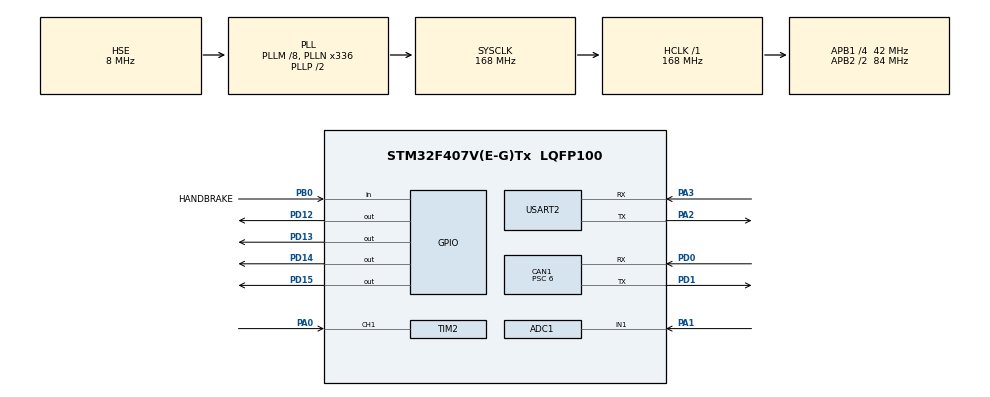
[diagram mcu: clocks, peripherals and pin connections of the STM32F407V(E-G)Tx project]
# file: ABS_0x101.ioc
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ADC1.Channel-0\#ChannelRegularConversion=ADC_CHANNEL_1
ADC1.ContinuousConvMode=ENABLE
ADC1.DMAContinuousRequests=ENABLE
ADC1.NbrOfConversionFlag=1
ADC1.Rank-0\#ChannelRegularConversion=1
ADC1.SamplingTime-0\#ChannelRegularConversion=ADC_SAMPLETIME_3CYCLES
ADC1.master=1
CAN1.BS1=CAN_BS1_11TQ
CAN1.BS2=CAN_BS2_2TQ
CAN1.CalculateBaudRate=500000
CAN1.CalculateTimeBit=2000
CAN1.CalculateTimeQuantum=142.85714285714286
CAN1.NART=ENABLE
CAN1.Prescaler=6
Dma.ADC1.1.Direction=DMA_PERIPH_TO_MEMORY
Dma.ADC1.1.FIFOMode=DMA_FIFOMODE_DISABLE
Dma.ADC1.1.Instance=DMA2_Stream0
Dma.ADC1.1.MemDataAlignment=DMA_MDATAALIGN_HALFWORD
Dma.ADC1.1.MemInc=DMA_MINC_ENABLE
Dma.ADC1.1.Mode=DMA_CIRCULAR
Dma.ADC1.1.PeriphDataAlignment=DMA_PDATAALIGN_HALFWORD
Dma.ADC1.1.PeriphInc=DMA_PINC_DISABLE
Dma.ADC1.1.Priority=DMA_PRIORITY_LOW
Dma.Request0=TIM2_CH1
Dma.Request1=ADC1
Dma.TIM2_CH1.0.Direction=DMA_PERIPH_TO_MEMORY
Dma.TIM2_CH1.0.FIFOMode=DMA_FIFOMODE_DISABLE
Dma.TIM2_CH1.0.Instance=DMA1_Stream5
Dma.TIM2_CH1.0.MemDataAlignment=DMA_MDATAALIGN_HALFWORD
Dma.TIM2_CH1.0.MemInc=DMA_MINC_DISABLE
Dma.TIM2_CH1.0.Mode=DMA_CIRCULAR
Dma.TIM2_CH1.0.PeriphDataAlignment=DMA_PDATAALIGN_HALFWORD
Dma.TIM2_CH1.0.PeriphInc=DMA_PINC_ENABLE
Dma.TIM2_CH1.0.Priority=DMA_PRIORITY_LOW
Mcu.Family=STM32F4
Mcu.Name=STM32F407V(E-G)Tx
Mcu.Package=LQFP100
NVIC.CAN1_RX0_IRQn=true\:0\:0\:false\:false\:true\:true\:true\:true
NVIC.CAN1_RX1_IRQn=true\:0\:0\:false\:false\:true\:true\:true\:true
NVIC.CAN1_SCE_IRQn=true\:0\:0\:false\:false\:true\:true\:true\:true
NVIC.CAN1_TX_IRQn=true\:0\:0\:false\:false\:true\:true\:true\:true
NVIC.DMA1_Stream5_IRQn=true\:0\:0\:false\:false\:true\:false\:true\:true
NVIC.DMA2_Stream0_IRQn=true\:0\:0\:false\:false\:true\:false\:true\:true
NVIC.PriorityGroup=NVIC_PRIORITYGROUP_0
NVIC.TIM2_IRQn=true\:0\:0\:false\:false\:true\:true\:true\:true
PA0-WKUP.Signal=S_TIM2_CH1_ETR
PA1.Signal=ADCx_IN1
PA2.Mode=Asynchronous
PA2.Signal=USART2_TX
PA3.Mode=Asynchronous
PA3.Signal=USART2_RX
PB0.GPIO_Label=HANDBRAKE
PB0.GPIO_PuPd=GPIO_PULLUP
PB0.Signal=GPIO_Input
PD0.Mode=CAN_Activate
PD0.Signal=CAN1_RX
PD1.Mode=CAN_Activate
PD1.Signal=CAN1_TX
PD12.Signal=GPIO_Output
PD13.Signal=GPIO_Output
PD14.Signal=GPIO_Output
PD15.Signal=GPIO_Output
PH0-OSC_IN.Mode=HSE-External-Oscillator
PH0-OSC_IN.Signal=RCC_OSC_IN
PH1-OSC_OUT.Mode=HSE-External-Oscillator
PH1-OSC_OUT.Signal=RCC_OSC_OUT
ProjectManager.HeapSize=0x200
ProjectManager.StackSize=0x400
ProjectManager.TargetToolchain=STM32CubeIDE
RCC.48MHZClocksFreq_Value=48000000
RCC.AHBFreq_Value=168000000
RCC.APB1CLKDivider=RCC_HCLK_DIV4
RCC.APB1Freq_Value=42000000
RCC.APB1TimFreq_Value=84000000
RCC.APB2CLKDivider=RCC_HCLK_DIV2
RCC.APB2Freq_Value=84000000
RCC.APB2TimFreq_Value=168000000
RCC.CortexFreq_Value=168000000
RCC.HCLKFreq_Value=168000000
RCC.HSE_VALUE=8000000
RCC.HSI_VALUE=16000000
RCC.LSE_VALUE=32768
RCC.PLLM=8
RCC.PLLN=336
RCC.PLLQ=7
RCC.PLLSourceVirtual=RCC_PLLSOURCE_HSE
RCC.SYSCLKFreq_VALUE=168000000
RCC.SYSCLKSource=RCC_SYSCLKSOURCE_PLLCLK
RCC.VCOOutputFreq_Value=336000000
SH.ADCx_IN1.0=ADC1_IN1,IN1
SH.S_TIM2_CH1_ETR.0=TIM2_CH1,Input_Capture1_from_TI1
TIM2.Channel-Input_Capture1_from_TI1=TIM_CHANNEL_1
TIM2.ICFilter_CH1=8
TIM2.ICPolarity_CH1=TIM_INPUTCHANNELPOLARITY_FALLING
TIM2.Period=65535
TIM2.Prescaler=49
USART2.VirtualMode=VM_ASYNC
VP_TIM2_VS_ClockSourceINT.Mode=Internal
board=STM32F407G-DISC1

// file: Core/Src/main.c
/* USER CODE BEGIN Header */
/**
  ******************************************************************************
  * @file           : main.c
  * @brief          : Main program body
  ******************************************************************************
  * @attention
  *
  * Copyright (c) 2026 STMicroelectronics.
  * All rights reserved.
  *
  * This software is licensed under terms that can be found in the LICENSE file
  * in the root directory of this software component.
  * If no LICENSE file comes with this software, it is provided AS-IS.
  *
  ******************************************************************************
  */
/* USER CODE END Header */
#include "main.h"

/* USER CODE BEGIN Includes */
#include "stdio.h"
#include "string.h"
#include "math.h"
/* USER CODE END Includes */

ADC_HandleTypeDef hadc1;
DMA_HandleTypeDef hdma_adc1;

CAN_HandleTypeDef hcan1;

TIM_HandleTypeDef htim2;
DMA_HandleTypeDef hdma_tim2_ch1;

UART_HandleTypeDef huart2;

/* USER CODE BEGIN PV */
#define MAGNETS              4U
//#define WHEEL_RADIUS_M       0.025f
//#define WHEEL_CIRCUMFERENCE_M (2.0f * 3.1415926f * WHEEL_RADIUS_M)
//#define SPEED_SCALE_FACTOR   12.0f
#define HALL_TO_MOTOR_RATIO   7.0f
#define MAX_MOTOR_RPM         5000.0f
#define MAX_VEHICLE_SPEED     250.0f

#define STOPPED_TIMEOUT_MS   500U
#define ABS_SLIP_THRESHOLD   20.0f
#define ABS_PHASE_MS         80U

#define CAN_ID_BMS_BRAKE     0x101U
#define CAN_ID_STATUS        0x102U
#define CAN_ID_TELEMATICS    0x107U
#define CAN_ID_TELEM_TX      0x117U  // ABS ECU → Telematics

//#define CAN_ID_TELEMATICS_SPEED  0x104U
//ADC_HandleTypeDef hadc1;
//CAN_HandleTypeDef hcan1;

volatile uint32_t capture1 = 0;
volatile uint32_t capture2 = 0;
volatile uint32_t pulse_period_us = 0;
volatile uint8_t capture_done = 0;
volatile uint8_t capture_index = 0;

uint8_t temp_warning_active = 0U;
uint32_t last_capture_tick = 0;
uint32_t last_speed_tx_tick = 0;
//uint32_t last_temp_tx_tick = 0;
uint32_t last_status_tx_tick = 0;
uint32_t last_imm_rx_tick = 0xFFFFFFFFU;
uint32_t last_mob_rx_tick = 0xFFFFFFFFU;

float wheel_rpm = 0.0f;
float wheel_speed_kmh = 0.0f;
float brake_temp_c = 30.0f;
float v_ref_kmh = 0.0f;

uint8_t brake_input_pct = 0;
uint8_t brake_cmd_pct = 0;
uint8_t abs_active = 0;
uint8_t handbrake = 0;
uint8_t immobilized = 0;
uint8_t prev_brake_input_pct = 0;
uint8_t abs_phase = 0;
uint32_t abs_phase_tick = 0;
CAN_FilterTypeDef filter;
/* USER CODE END PV */

void SystemClock_Config(void);
static void MX_GPIO_Init(void);
static void MX_DMA_Init(void);
static void MX_USART2_UART_Init(void);
static void MX_TIM2_Init(void);
static void MX_ADC1_Init(void);
static void MX_CAN1_Init(void);
/* USER CODE BEGIN PFP */
static uint8_t ADC_ToBrakePct(uint32_t adc);
static HAL_StatusTypeDef CAN_SendStd(uint16_t std_id, const uint8_t *data, uint8_t len);
/* USER CODE END PFP */

/* USER CODE BEGIN 0 */
int __io_putchar(int ch)
{
    HAL_UART_Transmit(&huart2, (uint8_t *)&ch, 1, HAL_MAX_DELAY);
    return ch;
}

static uint8_t ADC_ToBrakePct(uint32_t adc)
{
    // DEAD ZONE around center position

    if (adc < 2100)
        return 0;

    if (adc > 4000)
        adc = 4000;

    return (uint8_t)(((adc - 2100) * 100U) / (4000 - 2100));
}

static HAL_StatusTypeDef CAN_SendStd(uint16_t std_id, const uint8_t *data, uint8_t len)
{
    CAN_TxHeaderTypeDef txHeader = {0};
    uint32_t txMailbox = 0;

    txHeader.StdId             = std_id;
    txHeader.ExtId             = 0;
    txHeader.IDE               = CAN_ID_STD;
    txHeader.RTR               = CAN_RTR_DATA;
    txHeader.DLC               = len;
    txHeader.TransmitGlobalTime = DISABLE;

    // ===== CAN BUS HEALTH CHECK =====
    uint32_t can_err = HAL_CAN_GetError(&hcan1);
    if (can_err != HAL_CAN_ERROR_NONE)
    {
        printf("\033[0;31m[CAN BUS ERROR] 0x%lX — Bus may be offline!\r\n\033[0m", can_err);
    }

    uint32_t timeout = HAL_GetTick();
    while (HAL_CAN_GetTxMailboxesFreeLevel(&hcan1) == 0)
    {
        if ((HAL_GetTick() - timeout) > 5U)
        {
            printf("\033[0;31m[CAN TX TIMEOUT] ID:0x%03X — No free mailbox!\r\n\033[0m", std_id);
            return HAL_TIMEOUT;
        }
    }

    HAL_StatusTypeDef status = HAL_CAN_AddTxMessage(&hcan1, &txHeader, data, &txMailbox);

    if (status == HAL_OK)
    {
        HAL_GPIO_TogglePin(GPIOD, GPIO_PIN_13);

        // ===== DESTINATION PRINT =====
        const char *dest = "Unknown";
        if      (std_id == CAN_ID_BMS_BRAKE) dest = "BMS";
        else if (std_id == CAN_ID_STATUS)    dest = "Infotainment";
        else if (std_id == CAN_ID_TELEM_TX)  dest = "Telematics";

        printf("\033[0;32m[CAN TX OK] 0x%03X → %-18s | DLC:%u | Data:", std_id, dest, len);
        for (uint8_t i = 0; i < len; i++)
            printf(" 0x%02X", data[i]);
        printf("\r\n\033[0m");
    }
    else
    {
        printf("\033[0;31m[CAN TX FAIL] 0x%03X ERR:0x%lX\r\n\033[0m",
               std_id, HAL_CAN_GetError(&hcan1));
    }

    return status;
}

void HAL_TIM_IC_CaptureCallback(TIM_HandleTypeDef *htim)
{
    if (htim->Instance != TIM2) return;

    if (capture_index == 0)
    {
        capture1 = HAL_TIM_ReadCapturedValue(htim, TIM_CHANNEL_1);
        capture_index = 1;
    }
    else
    {
        capture2 = HAL_TIM_ReadCapturedValue(htim, TIM_CHANNEL_1);

        if (capture2 >= capture1)
            pulse_period_us = capture2 - capture1;
        else
        	pulse_period_us = (0xFFFFFFFFU - capture1) + 1U + capture2;

        capture_index = 0;
        capture_done = 1;
        last_capture_tick = HAL_GetTick();
    }
}

void HAL_CAN_RxFifo0MsgPendingCallback(CAN_HandleTypeDef *hcan)
{
    if (hcan->Instance != CAN1) return;

    CAN_RxHeaderTypeDef rxHeader = {0};
    uint8_t rxData[8] = {0};

    if (HAL_CAN_GetRxMessage(hcan, CAN_RX_FIFO0, &rxHeader, rxData) != HAL_OK)
        return;

    if (rxHeader.StdId == 0x107U)
    {
        static uint8_t last_cmd = 0x00;
        uint8_t current_cmd = rxData[0];

        // Ignore repeated same command
        if (current_cmd != last_cmd)
        {
            last_cmd = current_cmd;

            if (current_cmd == 0x99U)
            {
                immobilized = 1U;
                last_imm_rx_tick = HAL_GetTick();

                printf("\033[0;31m[CAN RX] IMMOBILIZE received!\r\n\033[0m");
            }
            else if (current_cmd == 0x11U)
            {
                immobilized = 0U;
                last_mob_rx_tick = HAL_GetTick();

                printf("\033[0;32m[CAN RX] MOBILIZE received!\r\n\033[0m");
            }
        }
    }
}
/* USER CODE END 0 */

int main(void)
{

  /* MCU Configuration--------------------------------------------------------*/

  /* Reset of all peripherals, Initializes the Flash interface and the Systick. */
  HAL_Init();

  /* Configure the system clock */
  SystemClock_Config();

  /* Initialize all configured peripherals */
  MX_GPIO_Init();
  MX_DMA_Init();
  MX_USART2_UART_Init();
  MX_TIM2_Init();
  MX_ADC1_Init();
  MX_CAN1_Init();
  /* USER CODE BEGIN 2 */

  HAL_TIM_IC_Start_IT(&htim2, TIM_CHANNEL_1);

  last_imm_rx_tick = HAL_GetTick() - 1000U;
  last_mob_rx_tick = HAL_GetTick() - 1000U;

  filter.FilterActivation     = CAN_FILTER_ENABLE;
  filter.FilterBank           = 0;
  filter.FilterFIFOAssignment = CAN_FILTER_FIFO0;
  filter.FilterIdHigh         = 0x0000;
  filter.FilterIdLow          = 0x0000;
  filter.FilterMaskIdHigh     = 0x0000;
  filter.FilterMaskIdLow      = 0x0000;
  filter.FilterMode           = CAN_FILTERMODE_IDMASK;
  filter.FilterScale          = CAN_FILTERSCALE_32BIT;
  filter.SlaveStartFilterBank = 14;        // ← add this

  HAL_CAN_ConfigFilter(&hcan1, &filter);   // only once

  if (HAL_CAN_Start(&hcan1) == HAL_OK)
      printf("CAN START SUCCESS\r\n");
  else
      printf("CAN START FAIL\r\n");

  HAL_CAN_ActivateNotification(&hcan1, CAN_IT_RX_FIFO0_MSG_PENDING);

  printf("ABS ECU Ready\r\n");
  printf("Hall PA0 | Brake PA1 | Handbrake PB0\r\n");
  printf("CAN 500kbps | UART 115200\r\n");
  /* USER CODE END 2 */

  /* Infinite loop */
  while (1)
  {

	  /* USER CODE BEGIN 3 */
	  uint8_t info_data[4] = {0};  // declare here so printf can access it
	  	  uint32_t now = HAL_GetTick();
	  	  uint32_t adc_raw = 0;

	  	  // ========== SPEED FROM HALL SENSOR ==========
	  	  if (capture_done)
	  	  {
	  		printf("RPM = %.1f\r\n", wheel_rpm);
	  	      capture_done = 0;
	  	      if (pulse_period_us > 0U)
	  	      {
	  	    	float freq_hz = 1000000.0f / (float)pulse_period_us;

	  	    	wheel_rpm = (freq_hz * 60.0f) / (float)MAGNETS;

	  	    	float motor_rpm = wheel_rpm * HALL_TO_MOTOR_RATIO;

	  	    	wheel_speed_kmh =
	  	    	    (motor_rpm * MAX_VEHICLE_SPEED) / MAX_MOTOR_RPM;

	  	    	if (wheel_speed_kmh > MAX_VEHICLE_SPEED)
	  	    	{
	  	    	    wheel_speed_kmh = MAX_VEHICLE_SPEED;
	  	    	}
	  	      }
	  	  }

	  	  if ((now - last_capture_tick) > STOPPED_TIMEOUT_MS)
	  	  {
	  	      wheel_rpm       = 0.0f;
	  	      wheel_speed_kmh = 0.0f;
	  	  }

	  	  // ========== ADC BRAKE INPUT ==========
	  	  if (HAL_ADC_Start(&hadc1) == HAL_OK)
	  	  {
	  	      if (HAL_ADC_PollForConversion(&hadc1, 1) == HAL_OK)
	  	          adc_raw = HAL_ADC_GetValue(&hadc1);
	  	      HAL_ADC_Stop(&hadc1);
	  	  }

	  	  brake_input_pct = ADC_ToBrakePct(adc_raw);
	  	  handbrake = (HAL_GPIO_ReadPin(GPIOB, GPIO_PIN_0) == GPIO_PIN_RESET) ? 1U : 0U;

	  	  // ========== V_REF CAPTURE ==========
	  	  if (brake_input_pct > 0U && prev_brake_input_pct == 0U)
	  	      v_ref_kmh = (wheel_speed_kmh > 1.0f) ? wheel_speed_kmh : 1.0f;

	  	  if (brake_input_pct == 0U && handbrake == 0U && immobilized == 0U)
	  	  {
	  	      v_ref_kmh  = 0.0f;
	  	      abs_active = 0U;
	  	      abs_phase  = 0U;
	  	  }

	  	  // ========== BRAKE + ABS LOGIC ==========
	  	  if (immobilized || handbrake)
	  	  {
	  	      brake_cmd_pct = 100U;
	  	      abs_active    = 0U;
	  	  }
	  	  else
	  	  {
	  	      float slip = 0.0f;
	  	      if (v_ref_kmh > 1.0f && wheel_speed_kmh < v_ref_kmh)
	  	          slip = ((v_ref_kmh - wheel_speed_kmh) / v_ref_kmh) * 100.0f;

	  	      if (brake_input_pct == 0U)
	  	      {
	  	          brake_cmd_pct = 0U;
	  	          abs_active    = 0U;
	  	      }
	  	      else if (slip > ABS_SLIP_THRESHOLD)
	  	      {
	  	          abs_active = 1U;
	  	          if ((now - abs_phase_tick) >= ABS_PHASE_MS)
	  	          {
	  	              abs_phase_tick = now;
	  	              abs_phase = (abs_phase + 1U) % 3U;
	  	          }
	  	          if (abs_phase == 0U)
	  	              brake_cmd_pct = brake_input_pct;
	  	          else if (abs_phase == 1U)
	  	              brake_cmd_pct = (brake_input_pct > 20U) ? (brake_input_pct - 20U) : 0U;
	  	          else
	  	          {
	  	              uint16_t temp_cmd = brake_input_pct + 10U;
	  	              brake_cmd_pct = (temp_cmd > 100U) ? 100U : (uint8_t)temp_cmd;
	  	          }
	  	      }
	  	      else
	  	      {
	  	          abs_active    = 0U;
	  	          abs_phase     = 0U;
	  	          brake_cmd_pct = brake_input_pct;
	  	      }
	  	  }

	  	  // ========== TEMPERATURE SIMULATION ==========
	  	  if (brake_cmd_pct > 0U)
	  	  {
	  	      float heat_rate = ((float)brake_cmd_pct / 100.0f) * 0.28f;
	  	      brake_temp_c += heat_rate;
	  	  }
	  	  else
	  	  {
	  	      float cool_rate = (brake_temp_c - 30.0f) * 0.005f;
	  	      brake_temp_c -= cool_rate;
	  	  }
	  	  if (brake_temp_c < 30.0f)  brake_temp_c = 30.0f;
	  	  if (brake_temp_c > 250.0f) brake_temp_c = 250.0f;

	  	  // ========== ABS STATUS BASED ON TEMPERATURE ==========
	  	  uint8_t abs_status_byte = 0U;
	  	  if (brake_temp_c >= 200.0f)
	  	  {
	  	      temp_warning_active = 1U;
	  	      abs_status_byte     = 0U;   // FAULT
	  	  }
	  	  else if (temp_warning_active && brake_temp_c > 80.0f)
	  	  {
	  	      abs_status_byte = 0U;       // hold fault until below 80C
	  	  }
	  	  else
	  	  {
	  	      temp_warning_active = 0U;
	  	      abs_status_byte     = abs_active ? 1U : 0U;  // 1=working 0=off
	  	  }

	  	  // ========== CAN TX EVERY 50ms ==========
	  	  if ((now - last_speed_tx_tick) >= 500U)
	  	  {
	  	      // --- 0x101 → BMS (1 byte: brake% only) ---
	  		// --- 0x101 → BMS (2 bytes: joystick brake% + handbrake state) ---
	  		uint8_t bms_data[4];

	  		if (immobilized)
	  		{
	  		    bms_data[0] = 100U;
	  		    bms_data[1] = 1U;
	  		}
	  		else
	  		{
	  		    bms_data[0] = brake_cmd_pct;
	  		    bms_data[1] = handbrake;
	  		}

	  		// speed packed in byte 2 and 3
	  		bms_data[2] = (uint8_t)wheel_speed_kmh;
	  		bms_data[3] = (uint8_t)((uint16_t)(wheel_speed_kmh * 10.0f) % 10U);

	  		CAN_SendStd(CAN_ID_BMS_BRAKE, bms_data, 4);

	  	      // --- 0x102 → Infotainment (3 bytes: status + speed) ---
	  	     // uint8_t info_data[4];
	  	      if (temp_warning_active)
	  	          info_data[0] = 0x02;              // brake failure / ABS fault
	  	      else if (abs_active)
	  	          info_data[0] = 0x01;              // ABS active
	  	      else
	  	          info_data[0] = 0x00;              // normal
	  	    info_data[0] = temp_warning_active ? 0x02 : abs_active ? 0x01 : 0x00;
	  	    info_data[1] = (uint8_t)wheel_speed_kmh;
	  	    info_data[2] = (uint8_t)((uint16_t)(wheel_speed_kmh * 10.0f) % 10U);
	  	    info_data[3] = handbrake;   // ← add handbrake here
	  	    CAN_SendStd(CAN_ID_STATUS, info_data, 4);  // DLC 3→4

	  	    // --- 0x117 → Telematics ABS status (1 byte) ---
	  	    uint8_t telem_data[1];
	  	    if (temp_warning_active)
	  	        telem_data[0] = 0x02;        // ABS FAULT
	  	    else if (abs_active)
	  	        telem_data[0] = 0x01;        // ABS ACTIVE
	  	    else
	  	        telem_data[0] = 0x00;        // ABS NORMAL
	  	    CAN_SendStd(CAN_ID_TELEM_TX, telem_data, 1);

	  	      // --- Fault print if temp warning active ---
	  	      if (temp_warning_active)
	  	      {
	  	          printf("\033[1;31m");
	  	          printf("╔══════════════════════════════════════════╗\r\n");
	  	          printf("║        ⚠  ABS FAULT DETECTED  ⚠       	 ║\r\n");
	  	          printf("║  Temp     : %.1f C  [CRITICAL]           ║\r\n", brake_temp_c);
	  	          printf("║  ABS      : DISABLED (0)                 ║\r\n");
	  	          printf("║  Fault TX : 0x102 → Infotainment         ║\r\n");
	  	          printf("║  Fault TX : 0x117 → Telematics           ║\r\n");
	  	          printf("╚══════════════════════════════════════════╝\r\n");
	  	          printf("\033[0m");
	  	      }

	  	      last_speed_tx_tick = now;
	  	  }

	  	  prev_brake_input_pct = brake_input_pct;

	  	  // ========== LED LOGIC ==========
	  	  HAL_GPIO_WritePin(GPIOD, GPIO_PIN_13, GPIO_PIN_SET);  // LD3 ORANGE = READY

	  	  if (brake_cmd_pct > 0)                                // LD4 GREEN = BRAKING
	  	      HAL_GPIO_WritePin(GPIOD, GPIO_PIN_12, GPIO_PIN_SET);
	  	  else
	  	      HAL_GPIO_WritePin(GPIOD, GPIO_PIN_12, GPIO_PIN_RESET);

	  	  if ((now - last_speed_tx_tick) < 25U)                 // LD5 RED = TX BLINK
	  	      HAL_GPIO_WritePin(GPIOD, GPIO_PIN_14, GPIO_PIN_SET);
	  	  else
	  	      HAL_GPIO_WritePin(GPIOD, GPIO_PIN_14, GPIO_PIN_RESET);

	  	  if ((HAL_GetTick() - last_imm_rx_tick) < 200U ||      // LD6 BLUE = RX BLINK
	  	      (HAL_GetTick() - last_mob_rx_tick) < 200U)
	  	  {
	  	      if ((HAL_GetTick() % 100) < 50)
	  	          HAL_GPIO_WritePin(GPIOD, GPIO_PIN_15, GPIO_PIN_SET);
	  	      else
	  	          HAL_GPIO_WritePin(GPIOD, GPIO_PIN_15, GPIO_PIN_RESET);
	  	  }
	  	  else if (immobilized)
	  	      HAL_GPIO_WritePin(GPIOD, GPIO_PIN_15, GPIO_PIN_SET);
	  	  else
	  	      HAL_GPIO_WritePin(GPIOD, GPIO_PIN_15, GPIO_PIN_RESET);

	  	  // ========== UART STATUS PRINT 500ms ==========
	  	  if ((now - last_status_tx_tick) >= 500U)
	  	  {
	  	      printf("\033[2J\033[H");
	  	      printf("\033[1;36m╔══════════════════════════════════════════╗\r\n");
	  	      printf("║          ABS ECU STATUS MONITOR           ║\r\n");
	  	      printf("╚══════════════════════════════════════════╝\033[0m\r\n");

	  	      printf("\033[1;33mSPEED    :\033[0m %.1f km/h\r\n", wheel_speed_kmh);
	  	      printf("\033[1;33mBRAKE    :\033[0m %u%%\r\n", brake_cmd_pct);
	  	      printf("\033[1;33mABS      :\033[0m %s\r\n",
	  	             abs_status_byte ? "\033[0;32mWORKING (1)\033[0m"
	  	                             : "\033[0;31mFAULT / OFF (0)\033[0m");
	  	      printf("\033[1;33mTEMP     :\033[0m %.1f C  %s\r\n", brake_temp_c,
	  	             brake_temp_c >= 200.0f ? "\033[0;31m[CRITICAL]\033[0m" :
	  	             brake_temp_c >= 100.0f ? "\033[0;33m[WARNING]\033[0m"  :
	  	                                      "\033[0;32m[NORMAL]\033[0m");
	  	      printf("\033[1;33mHANDBRK  :\033[0m %s\r\n",
	  	             handbrake ? "\033[0;31mON\033[0m" : "\033[0;32mOFF\033[0m");
	  	      printf("\033[1;33mIMMOBILE :\033[0m %s\r\n",
	  	             immobilized ? "\033[0;31mACTIVE\033[0m" : "\033[0;32mCLEAR\033[0m");

	  	      printf("\033[1;36m────────── CAN TX ──────────────────────\033[0m\r\n");
	  	      printf("\033[1;33m0x101 BMS  :\033[0m \033[0;32mbrake_pct=%u%%\033[0m\r\n",
	  	             brake_cmd_pct);
	  	      printf("\033[1;33m0x102 INFO :\033[0m \033[0;32mstatus=0x%02X  spd=%.1f km/h  abs=%u  hbrk=%u\033[0m\r\n",
	  	           info_data[0], wheel_speed_kmh, abs_status_byte, handbrake);
	  	      printf("\033[1;33m0x104 TCU  :\033[0m \033[0;32mspd=%.1f km/h\033[0m\r\n",
	  	             wheel_speed_kmh);
	  	      printf("\033[1;33m0x117 TELE :\033[0m \033[0;32mabs_status=%u\033[0m\r\n",
	  	             abs_status_byte);

	  	    // ===== REAL CAN BUS HEALTH CHECK =====
	  	    uint32_t can_err = HAL_CAN_GetError(&hcan1);

	  	    // Read transmit and receive error counters directly from hardware
	  	    uint8_t tec = (uint8_t)((CAN1->ESR >> 16) & 0xFF);  // TX error count
	  	    uint8_t rec = (uint8_t)((CAN1->ESR >> 24) & 0xFF);  // RX error count

	  	    printf("\033[1;36m────────── CAN BUS HEALTH ──────────────\033[0m\r\n");

	  	    if (can_err & HAL_CAN_ERROR_BOF)
	  	        printf("\033[1;33mBUS STATE:\033[0m \033[0;31mBUS-OFF — Disconnected!\033[0m\r\n");
	  	    else if (can_err & HAL_CAN_ERROR_EPV)
	  	        printf("\033[1;33mBUS STATE:\033[0m \033[0;31mERROR PASSIVE — Bad connection!\033[0m\r\n");
	  	    else if (tec > 96 || rec > 96)
	  	        printf("\033[1;33mBUS STATE:\033[0m \033[0;33mWARNING — High error count!\033[0m\r\n");
	  	    else
	  	        printf("\033[1;33mBUS STATE:\033[0m \033[0;32mONLINE ✓\033[0m\r\n");

	  	    printf("\033[1;33mTX ERR   :\033[0m %u\r\n", tec);
	  	    printf("\033[1;33mRX ERR   :\033[0m %u\r\n", rec);
	  	    printf("\033[1;33mERR CODE :\033[0m 0x%08lX\r\n", can_err);

	  	      printf("\033[1;36m────────── CAN RX ──────────────────────\033[0m\r\n");
	  	    printf("\033[1;33mADC RAW  :\033[0m %lu\r\n", (uint32_t)adc_raw);
	  	      printf("\033[1;33m0x107 TELE :\033[0m %s\r\n",
	  	             immobilized ? "\033[0;31mIMMOBILIZED\033[0m" : "\033[0;32mMOBILE\033[0m");

	  	      printf("\033[1;36m═══════════════════════════════════════════\033[0m\r\n");

	  	      last_status_tx_tick = now;
	  	  }
	    /* USER CODE END 3 */
  }
}

void SystemClock_Config(void)
{
  RCC_OscInitTypeDef RCC_OscInitStruct = {0};
  RCC_ClkInitTypeDef RCC_ClkInitStruct = {0};

  /** Configure the main internal regulator output voltage
  */
  __HAL_RCC_PWR_CLK_ENABLE();
  __HAL_PWR_VOLTAGESCALING_CONFIG(PWR_REGULATOR_VOLTAGE_SCALE1);

  /** Initializes the RCC Oscillators according to the specified parameters
  * in the RCC_OscInitTypeDef structure.
  */
  RCC_OscInitStruct.OscillatorType = RCC_OSCILLATORTYPE_HSE;
  RCC_OscInitStruct.HSEState = RCC_HSE_ON;
  RCC_OscInitStruct.PLL.PLLState = RCC_PLL_ON;
  RCC_OscInitStruct.PLL.PLLSource = RCC_PLLSOURCE_HSE;
  RCC_OscInitStruct.PLL.PLLM = 8;
  RCC_OscInitStruct.PLL.PLLN = 336;
  RCC_OscInitStruct.PLL.PLLP = RCC_PLLP_DIV2;
  RCC_OscInitStruct.PLL.PLLQ = 7;
  if (HAL_RCC_OscConfig(&RCC_OscInitStruct) != HAL_OK)
  {
    Error_Handler();
  }

  /** Initializes the CPU, AHB and APB buses clocks
  */
  RCC_ClkInitStruct.ClockType = RCC_CLOCKTYPE_HCLK|RCC_CLOCKTYPE_SYSCLK
                              |RCC_CLOCKTYPE_PCLK1|RCC_CLOCKTYPE_PCLK2;
  RCC_ClkInitStruct.SYSCLKSource = RCC_SYSCLKSOURCE_PLLCLK;
  RCC_ClkInitStruct.AHBCLKDivider = RCC_SYSCLK_DIV1;
  RCC_ClkInitStruct.APB1CLKDivider = RCC_HCLK_DIV4;
  RCC_ClkInitStruct.APB2CLKDivider = RCC_HCLK_DIV2;

  if (HAL_RCC_ClockConfig(&RCC_ClkInitStruct, FLASH_LATENCY_5) != HAL_OK)
  {
    Error_Handler();
  }
}

static void MX_ADC1_Init(void)
{

  ADC_ChannelConfTypeDef sConfig = {0};

  /** Configure the global features of the ADC (Clock, Resolution, Data Alignment and number of conversion)
  */
  hadc1.Instance = ADC1;
  hadc1.Init.ClockPrescaler = ADC_CLOCK_SYNC_PCLK_DIV4;
  hadc1.Init.Resolution = ADC_RESOLUTION_12B;
  hadc1.Init.ScanConvMode = DISABLE;
  hadc1.Init.ContinuousConvMode = ENABLE;
  hadc1.Init.DiscontinuousConvMode = DISABLE;
  hadc1.Init.ExternalTrigConvEdge = ADC_EXTERNALTRIGCONVEDGE_NONE;
  hadc1.Init.ExternalTrigConv = ADC_SOFTWARE_START;
  hadc1.Init.DataAlign = ADC_DATAALIGN_RIGHT;
  hadc1.Init.NbrOfConversion = 1;
  hadc1.Init.DMAContinuousRequests = ENABLE;
  hadc1.Init.EOCSelection = ADC_EOC_SINGLE_CONV;
  if (HAL_ADC_Init(&hadc1) != HAL_OK)
  {
    Error_Handler();
  }

  /** Configure for the selected ADC regular channel its corresponding rank in the sequencer and its sample time.
  */
  sConfig.Channel = ADC_CHANNEL_1;
  sConfig.Rank = 1;
  sConfig.SamplingTime = ADC_SAMPLETIME_3CYCLES;
  if (HAL_ADC_ConfigChannel(&hadc1, &sConfig) != HAL_OK)
  {
    Error_Handler();
  }

}

static void MX_CAN1_Init(void)
{

  hcan1.Instance = CAN1;
  hcan1.Init.Prescaler = 6;
  hcan1.Init.Mode = CAN_MODE_NORMAL;
  hcan1.Init.SyncJumpWidth = CAN_SJW_1TQ;
  hcan1.Init.TimeSeg1 = CAN_BS1_11TQ;
  hcan1.Init.TimeSeg2 = CAN_BS2_2TQ;
  hcan1.Init.TimeTriggeredMode = DISABLE;
  hcan1.Init.AutoBusOff = ENABLE;
  hcan1.Init.AutoWakeUp = DISABLE;
  hcan1.Init.AutoRetransmission = DISABLE;
  hcan1.Init.ReceiveFifoLocked = ENABLE;
  hcan1.Init.TransmitFifoPriority = ENABLE;
  if (HAL_CAN_Init(&hcan1) != HAL_OK)
  {
    Error_Handler();
  }

}

static void MX_TIM2_Init(void)
{

  TIM_ClockConfigTypeDef sClockSourceConfig = {0};
  TIM_MasterConfigTypeDef sMasterConfig = {0};
  TIM_IC_InitTypeDef sConfigIC = {0};

  htim2.Instance = TIM2;
  htim2.Init.Prescaler = 83;
  htim2.Init.CounterMode = TIM_COUNTERMODE_UP;
  htim2.Init.Period = 0xFFFFFFFF;
  htim2.Init.ClockDivision = TIM_CLOCKDIVISION_DIV1;
  htim2.Init.AutoReloadPreload = TIM_AUTORELOAD_PRELOAD_DISABLE;
  if (HAL_TIM_Base_Init(&htim2) != HAL_OK)
  {
    Error_Handler();
  }
  sClockSourceConfig.ClockSource = TIM_CLOCKSOURCE_INTERNAL;
  if (HAL_TIM_ConfigClockSource(&htim2, &sClockSourceConfig) != HAL_OK)
  {
    Error_Handler();
  }
  if (HAL_TIM_IC_Init(&htim2) != HAL_OK)
  {
    Error_Handler();
  }
  sMasterConfig.MasterOutputTrigger = TIM_TRGO_RESET;
  sMasterConfig.MasterSlaveMode = TIM_MASTERSLAVEMODE_DISABLE;
  if (HAL_TIMEx_MasterConfigSynchronization(&htim2, &sMasterConfig) != HAL_OK)
  {
    Error_Handler();
  }
  sConfigIC.ICPolarity = TIM_INPUTCHANNELPOLARITY_FALLING;
  sConfigIC.ICSelection = TIM_ICSELECTION_DIRECTTI;
  sConfigIC.ICPrescaler = TIM_ICPSC_DIV1;
  sConfigIC.ICFilter = 8;
  if (HAL_TIM_IC_ConfigChannel(&htim2, &sConfigIC, TIM_CHANNEL_1) != HAL_OK)
  {
    Error_Handler();
  }

}

static void MX_USART2_UART_Init(void)
{

  huart2.Instance = USART2;
  huart2.Init.BaudRate = 115200;
  huart2.Init.WordLength = UART_WORDLENGTH_8B;
  huart2.Init.StopBits = UART_STOPBITS_1;
  huart2.Init.Parity = UART_PARITY_NONE;
  huart2.Init.Mode = UART_MODE_TX_RX;
  huart2.Init.HwFlowCtl = UART_HWCONTROL_NONE;
  huart2.Init.OverSampling = UART_OVERSAMPLING_16;
  if (HAL_UART_Init(&huart2) != HAL_OK)
  {
    Error_Handler();
  }

}

static void MX_DMA_Init(void)
{

  /* DMA controller clock enable */
  __HAL_RCC_DMA1_CLK_ENABLE();
  __HAL_RCC_DMA2_CLK_ENABLE();

  /* DMA interrupt init */
  /* DMA1_Stream5_IRQn interrupt configuration */
  HAL_NVIC_SetPriority(DMA1_Stream5_IRQn, 0, 0);
  HAL_NVIC_EnableIRQ(DMA1_Stream5_IRQn);
  /* DMA2_Stream0_IRQn interrupt configuration */
  HAL_NVIC_SetPriority(DMA2_Stream0_IRQn, 0, 0);
  HAL_NVIC_EnableIRQ(DMA2_Stream0_IRQn);

}

static void MX_GPIO_Init(void)
{
  GPIO_InitTypeDef GPIO_InitStruct = {0};

  /* GPIO Ports Clock Enable */
  __HAL_RCC_GPIOH_CLK_ENABLE();
  __HAL_RCC_GPIOA_CLK_ENABLE();
  __HAL_RCC_GPIOB_CLK_ENABLE();
  __HAL_RCC_GPIOD_CLK_ENABLE();

  // ================= USART2 =================
  // PA2 -> TX
  // PA3 -> RX

  GPIO_InitStruct.Pin = GPIO_PIN_2 | GPIO_PIN_3;
  GPIO_InitStruct.Mode = GPIO_MODE_AF_PP;
  GPIO_InitStruct.Pull = GPIO_NOPULL;
  GPIO_InitStruct.Speed = GPIO_SPEED_FREQ_VERY_HIGH;
  GPIO_InitStruct.Alternate = GPIO_AF7_USART2;
  HAL_GPIO_Init(GPIOA, &GPIO_InitStruct);

  // ================= TIM2 CH1 =================
  // PA0 -> Hall Sensor

  GPIO_InitStruct.Pin = GPIO_PIN_0;
  GPIO_InitStruct.Mode = GPIO_MODE_AF_PP;
  GPIO_InitStruct.Pull = GPIO_PULLUP;
  GPIO_InitStruct.Speed = GPIO_SPEED_FREQ_LOW;
  GPIO_InitStruct.Alternate = GPIO_AF1_TIM2;
  HAL_GPIO_Init(GPIOA, &GPIO_InitStruct);

  // ================= CAN1 =================
  // PD0 -> CAN RX
  // PD1 -> CAN TX

  GPIO_InitStruct.Pin = GPIO_PIN_0 | GPIO_PIN_1;
  GPIO_InitStruct.Mode = GPIO_MODE_AF_PP;
  GPIO_InitStruct.Pull = GPIO_NOPULL;
  GPIO_InitStruct.Speed = GPIO_SPEED_FREQ_VERY_HIGH;
  GPIO_InitStruct.Alternate = GPIO_AF9_CAN1;
  HAL_GPIO_Init(GPIOD, &GPIO_InitStruct);

  // ================= HANDBRAKE =================

  GPIO_InitStruct.Pin = GPIO_PIN_0;
  GPIO_InitStruct.Mode = GPIO_MODE_INPUT;
  GPIO_InitStruct.Pull = GPIO_PULLUP;
  HAL_GPIO_Init(GPIOB, &GPIO_InitStruct);

  // ================= LEDs =================

  HAL_GPIO_WritePin(GPIOD,
                    GPIO_PIN_12 |
                    GPIO_PIN_13 |
                    GPIO_PIN_14 |
                    GPIO_PIN_15,
                    GPIO_PIN_RESET);

  GPIO_InitStruct.Pin = GPIO_PIN_12 |
                        GPIO_PIN_13 |
                        GPIO_PIN_14 |
                        GPIO_PIN_15;

  GPIO_InitStruct.Mode = GPIO_MODE_OUTPUT_PP;
  GPIO_InitStruct.Pull = GPIO_NOPULL;
  GPIO_InitStruct.Speed = GPIO_SPEED_FREQ_LOW;

  HAL_GPIO_Init(GPIOD, &GPIO_InitStruct);
}

void Error_Handler(void)
{
  __disable_irq();
  while (1)
  {
  }
}
